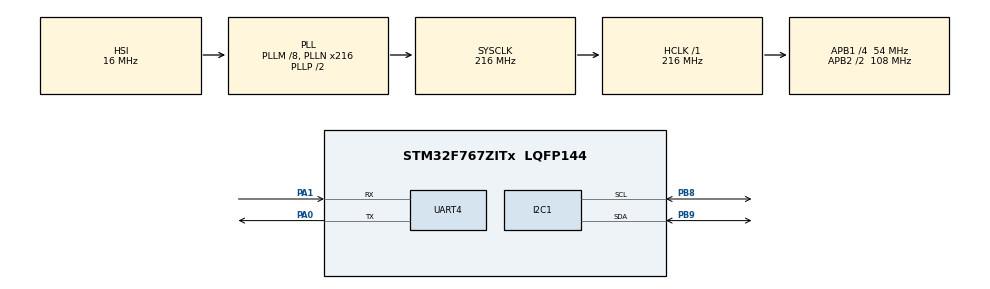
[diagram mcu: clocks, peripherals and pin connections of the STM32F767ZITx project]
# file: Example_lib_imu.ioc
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Mcu.Family=STM32F7
RCC.CortexFreq_Value=216000000
PA0/WKUP.Signal=UART4_TX
RCC.APB1CLKDivider=RCC_HCLK_DIV4
RCC.SYSCLKSource=RCC_SYSCLKSOURCE_PLLCLK
ProjectManager.StackSize=0x400
ProjectManager.TargetToolchain=STM32CubeIDE
PH0/OSC_IN.Mode=HSE-External-Oscillator
RCC.HCLKFreq_Value=216000000
RCC.APB2TimFreq_Value=216000000
PB9.Mode=I2C
I2C1.Timing=0x20404768
PH1/OSC_OUT.Signal=RCC_OSC_OUT
RCC.USBFreq_Value=216000000
RCC.LSE_VALUE=32768
PA1.Signal=UART4_RX
RCC.AHBFreq_Value=216000000
PA0/WKUP.Mode=Asynchronous
RCC.HSE_VALUE=25000000
board=custom
RCC.VCOOutputFreq_Value=432000000
PH0/OSC_IN.Signal=RCC_OSC_IN
RCC.APB2Freq_Value=108000000
PA1.Mode=Asynchronous
PH1/OSC_OUT.Mode=HSE-External-Oscillator
Mcu.Name=STM32F767ZITx
RCC.SYSCLKFreq_VALUE=216000000
PB9.Signal=I2C1_SDA
Mcu.Package=LQFP144
ProjectManager.HeapSize=0x200
RCC.HSI_VALUE=16000000
NVIC.PriorityGroup=NVIC_PRIORITYGROUP_4
RCC.APB2CLKDivider=RCC_HCLK_DIV2
RCC.PLLM=8
PB8.Mode=I2C
RCC.PLLN=216
RCC.APB1TimFreq_Value=108000000
PB8.Signal=I2C1_SCL
RCC.APB1Freq_Value=54000000

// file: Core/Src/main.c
/* USER CODE BEGIN Header */
/**
 ******************************************************************************
 * @file           : main.c
 * @brief          : Main program body
 ******************************************************************************
 * @attention
 *
 * <h2><center>&copy; Copyright (c) 2021 STMicroelectronics.
 * All rights reserved.</center></h2>
 *
 * This software component is licensed by ST under BSD 3-Clause license,
 * the "License"; You may not use this file except in compliance with the
 * License. You may obtain a copy of the License at:
 *                        opensource.org/licenses/BSD-3-Clause
 *
 ******************************************************************************
 */
/* USER CODE END Header */
#include "main.h"

/* USER CODE BEGIN Includes */
#include "printf_SWO.h"
#include "mpu9250.h"
#include "tm_stm32_ahrs_imu.h"
/* USER CODE END Includes */

/* USER CODE BEGIN PTD */
#define PI	3.14159265359f
/* USER CODE END PTD */

MPU9250_t mpu9250;
TM_AHRSIMU_t IMU;
I2C_HandleTypeDef hi2c1;
HAL_StatusTypeDef status;
uint8_t pTxData[200];
UART_HandleTypeDef huart4;

uint8_t isDeviceConnected = 0;
HAL_StatusTypeDef whoAmI_Check(MPU9250_t *mpu9250);

void SystemClock_Config(void);
static void MX_GPIO_Init(void);
static void MX_I2C1_Init(void);
static void MX_UART4_Init(void);
/* USER CODE BEGIN PFP */
void I2C_Scan(void);
/* USER CODE END PFP */

int main(void) {

	/* MCU Configuration--------------------------------------------------------*/

	/* Reset of all peripherals, Initializes the Flash interface and the Systick. */
	HAL_Init();

	/* Configure the system clock */
	SystemClock_Config();

	/* Initialize all configured peripherals */
	MX_GPIO_Init();
	MX_I2C1_Init();
	MX_UART4_Init();
	/* USER CODE BEGIN 2 */
//
	sprintf((char*) pTxData, "UART IS WORKS!!!\r\n");
	status = HAL_UART_Transmit(&huart4, pTxData, strlen((char*) pTxData), 200);
//	I2C_Scan();

	MPU9250_Init(&mpu9250, MPU9250_Device_0, ACCEL_SCALE_2G, GYRO_SCALE_250dps,
			MAG_SCALE_16bit);

//	MPU9250_Calibrate(&mpu9250);

	if (whoAmI_Check(&mpu9250) != HAL_ERROR) {
		isDeviceConnected = 1;
		sprintf((char*) pTxData, "IMU connected. Status = %d\r\n",
				isDeviceConnected);
		status = HAL_UART_Transmit(&huart4, pTxData, strlen((char*) pTxData),
				200);
	} else
		isDeviceConnected = 0;

	//library for roll pitch yaw
	TM_AHRSIMU_Init(&IMU, 1000, 0.5, 0);
	/* USER CODE END 2 */
	  printf("Hello SWO in new project!\r\n");
	/* Infinite loop */
	while (1) {

		/* USER CODE BEGIN 3 */

//		 sprintf((char *)pTxData, "Is data ready ? = %x\r ", MPU9250_DataReady(&mpu9250));
//		 status = HAL_UART_Transmit (&huart4, pTxData, strlen((char *)pTxData), 200);
		if (MPU9250_DataReady(&mpu9250)) {
			MPU9250_ReadAcc(&mpu9250);
			MPU9250_ReadGyro(&mpu9250);
			MPU9250_ReadMag(&mpu9250);

			MPU9250_ReadTemperature(&mpu9250);

			TM_AHRSIMU_UpdateIMU(&IMU, mpu9250.gyro[0]  , mpu9250.gyro[1] , mpu9250.gyro[2] , mpu9250.acc[0], mpu9250.acc[1], mpu9250.acc[2]);
//
//
//
//			sprintf((char*) pTxData, "Hi my data in python!\r\n");
//						status = HAL_UART_Transmit(&huart4, pTxData,
//								strlen((char*) pTxData), 200);

		//	*0.00875 *180/PI
			sprintf((char*) pTxData, "%f,%f,%f\r\n",mpu9250.gyro[0], mpu9250.gyro[1], mpu9250.gyro[2]);
//			sprintf((char*) pTxData, "%f,%f,%f\r\n",mpu9250.mag[0], mpu9250.mag[1], mpu9250.mag[2]);
//			sprintf((char*) pTxData, "%f,%f,%f\r\n", IMU.Roll,IMU.Pitch,IMU.Yaw);
			status = HAL_UART_Transmit(&huart4, pTxData,
					strlen((char*) pTxData), 200);

//
//			sprintf((char*) pTxData, "Hello Uart in python\r\n");
//			status = HAL_UART_Transmit(&huart4, pTxData, strlen((char*) pTxData), 200);
//
//			printf("%f, %f,%f\r\n",mpu9250.acc[0], mpu9250.acc[1], mpu9250.acc[2]);
//			TM_AHRSIMU_UpdateIMU(&IMU,mpu9250.gyro[0],mpu9250.gyro[1],mpu9250.gyro[2],mpu9250.acc[0],mpu9250.acc[1],mpu9250.acc[2]);
//			sprintf((char *)pTxData, "%f,%f,%f\r\n", IMU.Roll,IMU.Pitch,IMU.Yaw,mpu9250.temp);
//					status = HAL_UART_Transmit (&huart4, pTxData, strlen((char *)pTxData), 200);

		}

	}

	/* USER CODE END 3 */
}

void SystemClock_Config(void) {
	RCC_OscInitTypeDef RCC_OscInitStruct = { 0 };
	RCC_ClkInitTypeDef RCC_ClkInitStruct = { 0 };
	RCC_PeriphCLKInitTypeDef PeriphClkInitStruct = { 0 };

	/** Configure the main internal regulator output voltage
	 */
	__HAL_RCC_PWR_CLK_ENABLE();
	__HAL_PWR_VOLTAGESCALING_CONFIG(PWR_REGULATOR_VOLTAGE_SCALE1);
	/** Initializes the RCC Oscillators according to the specified parameters
	 * in the RCC_OscInitTypeDef structure.
	 */
	RCC_OscInitStruct.OscillatorType = RCC_OSCILLATORTYPE_HSI;
	RCC_OscInitStruct.HSIState = RCC_HSI_ON;
	RCC_OscInitStruct.HSICalibrationValue = RCC_HSICALIBRATION_DEFAULT;
	RCC_OscInitStruct.PLL.PLLState = RCC_PLL_ON;
	RCC_OscInitStruct.PLL.PLLSource = RCC_PLLSOURCE_HSI;
	RCC_OscInitStruct.PLL.PLLM = 8;
	RCC_OscInitStruct.PLL.PLLN = 216;
	RCC_OscInitStruct.PLL.PLLP = RCC_PLLP_DIV2;
	RCC_OscInitStruct.PLL.PLLQ = 2;
	if (HAL_RCC_OscConfig(&RCC_OscInitStruct) != HAL_OK) {
		Error_Handler();
	}
	/** Activate the Over-Drive mode
	 */
	if (HAL_PWREx_EnableOverDrive() != HAL_OK) {
		Error_Handler();
	}
	/** Initializes the CPU, AHB and APB buses clocks
	 */
	RCC_ClkInitStruct.ClockType = RCC_CLOCKTYPE_HCLK | RCC_CLOCKTYPE_SYSCLK
			| RCC_CLOCKTYPE_PCLK1 | RCC_CLOCKTYPE_PCLK2;
	RCC_ClkInitStruct.SYSCLKSource = RCC_SYSCLKSOURCE_PLLCLK;
	RCC_ClkInitStruct.AHBCLKDivider = RCC_SYSCLK_DIV1;
	RCC_ClkInitStruct.APB1CLKDivider = RCC_HCLK_DIV4;
	RCC_ClkInitStruct.APB2CLKDivider = RCC_HCLK_DIV2;

	if (HAL_RCC_ClockConfig(&RCC_ClkInitStruct, FLASH_LATENCY_7) != HAL_OK) {
		Error_Handler();
	}
	PeriphClkInitStruct.PeriphClockSelection = RCC_PERIPHCLK_UART4
			| RCC_PERIPHCLK_I2C1;
	PeriphClkInitStruct.Uart4ClockSelection = RCC_UART4CLKSOURCE_PCLK1;
	PeriphClkInitStruct.I2c1ClockSelection = RCC_I2C1CLKSOURCE_PCLK1;
	if (HAL_RCCEx_PeriphCLKConfig(&PeriphClkInitStruct) != HAL_OK) {
		Error_Handler();
	}
}

static void MX_I2C1_Init(void) {

	hi2c1.Instance = I2C1;
	hi2c1.Init.Timing = 0x20404768;
	hi2c1.Init.OwnAddress1 = 0;
	hi2c1.Init.AddressingMode = I2C_ADDRESSINGMODE_7BIT;
	hi2c1.Init.DualAddressMode = I2C_DUALADDRESS_DISABLE;
	hi2c1.Init.OwnAddress2 = 0;
	hi2c1.Init.OwnAddress2Masks = I2C_OA2_NOMASK;
	hi2c1.Init.GeneralCallMode = I2C_GENERALCALL_DISABLE;
	hi2c1.Init.NoStretchMode = I2C_NOSTRETCH_DISABLE;
	if (HAL_I2C_Init(&hi2c1) != HAL_OK) {
		Error_Handler();
	}
	/** Configure Analogue filter
	 */
	if (HAL_I2CEx_ConfigAnalogFilter(&hi2c1, I2C_ANALOGFILTER_ENABLE)
			!= HAL_OK) {
		Error_Handler();
	}
	/** Configure Digital filter
	 */
	if (HAL_I2CEx_ConfigDigitalFilter(&hi2c1, 0) != HAL_OK) {
		Error_Handler();
	}

}

static void MX_UART4_Init(void) {

	huart4.Instance = UART4;
	huart4.Init.BaudRate = 9600;
	huart4.Init.WordLength = UART_WORDLENGTH_8B;
	huart4.Init.StopBits = UART_STOPBITS_1;
	huart4.Init.Parity = UART_PARITY_NONE;
	huart4.Init.Mode = UART_MODE_TX_RX;
	huart4.Init.HwFlowCtl = UART_HWCONTROL_NONE;
	huart4.Init.OverSampling = UART_OVERSAMPLING_16;
	huart4.Init.OneBitSampling = UART_ONE_BIT_SAMPLE_DISABLE;
	huart4.AdvancedInit.AdvFeatureInit = UART_ADVFEATURE_NO_INIT;
	if (HAL_UART_Init(&huart4) != HAL_OK) {
		Error_Handler();
	}

}

static void MX_GPIO_Init(void) {

	/* GPIO Ports Clock Enable */
	__HAL_RCC_GPIOH_CLK_ENABLE();
	__HAL_RCC_GPIOA_CLK_ENABLE();
	__HAL_RCC_GPIOB_CLK_ENABLE();

}

/* USER CODE BEGIN 4 */
//void I2C_Scan() {
//	HAL_StatusTypeDef res;
//	char info [] = "Scanning I2C bus..\r\n";
//	HAL_UART_Transmit(&huart4, (uint8_t*)info, strlen(info), HAL_MAX_DELAY);
//	for (uint16_t i = 0; i < 128; i++) {
//		res = HAL_I2C_IsDeviceReady(&hi2c1, i << 1, 1, HAL_MAX_DELAY);
//
//		if (res == HAL_OK)
//
//		{
//			char msg[64];
//			    	snprintf(msg, sizeof(msg), "0x%02X", i);
//			    	HAL_UART_Transmit(&huart4, (uint8_t*)msg, strlen(msg), HAL_MAX_DELAY);
//			      	HAL_UART_Transmit(&huart4, (uint8_t*)"\r\n", 2, HAL_MAX_DELAY);
////
////					for (uint16_t i = 0; i < strlen(msg); i++)
////					{
////						printf(" %c", msg[i]);
////
////					}
////					printf("\r\n");
//		}
//
//		else HAL_UART_Transmit(&huart4, (uint8_t*)".", 1, HAL_MAX_DELAY);
//
//	}
//	HAL_UART_Transmit(&huart4, (uint8_t*)"\r\n", 2, HAL_MAX_DELAY);
//}

HAL_StatusTypeDef whoAmI_Check(MPU9250_t *mpu9250) {

	uint8_t data;
	/* MPU9250 Who Am I Register Check */
	if (readByte(&hi2c1, mpu9250->I2C_Addr, WHO_AM_I, &data) != HAL_OK) {

		if (data != 0x71)
			return HAL_ERROR;
	}
//	sprintf((char *)pTxData, "status = %x\r\n", data);
//	status = HAL_UART_Transmit (&huart4, pTxData, strlen((char *)pTxData), 200);

	/* AK8963 Who Am I Register Check */
	if (readByte(&hi2c1, mpu9250->I2C_Addr_Mag, WIA, &data) != HAL_OK) {
		if (data != 0x48)
			return HAL_ERROR;
	}

	return HAL_OK;
}

//HAL_StatusTypeDef readAcc(MPU9250_t *mpu9250)
//{
//	uint8_t data[6];
//	/* MPU9250 Who Am I Register Check */
//	readMultiBytes(&hi2c1, mpu9250->I2C_Addr, ACCEL_XOUT_H, data, 6);
//
//	mpu9250->acc_raw[0] = ((int16_t)data[0] << 8) | data[1];
//	mpu9250->acc_raw[1] = ((int16_t)data[2] << 8) | data[3];
//	mpu9250->acc_raw[2] = ((int16_t)data[4] << 8) | data[5];
//
//	mpu9250->acc[0] = (float)MPU9250->acc_raw[0] * MPU9250->accMult;
//	mpu9250->acc[1] = (float)MPU9250->acc_raw[1] * MPU9250->accMult;
//	MPU9250->acc[2] = (float)MPU9250->acc_raw[2] * MPU9250->accMult;
//}

/* USER CODE END 4 */

void Error_Handler(void) {
	__disable_irq();
	while (1) {
	}
}

/************************ (C) COPYRIGHT STMicroelectronics *****END OF FILE****/
